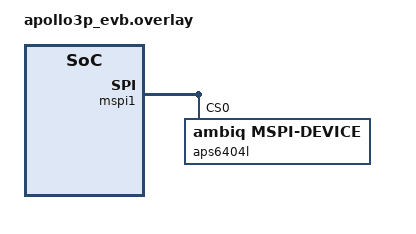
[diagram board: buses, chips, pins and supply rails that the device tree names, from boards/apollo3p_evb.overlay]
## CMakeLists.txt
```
# SPDX-License-Identifier: Apache-2.0

cmake_minimum_required(VERSION 3.20.0)

find_package(Zephyr REQUIRED HINTS $ENV{ZEPHYR_BASE})
project(memc)


if(CONFIG_MEMC_MCUX_FLEXSPI)
  target_include_directories(app PRIVATE ${ZEPHYR_BASE}/drivers/memc)
endif()

if(CONFIG_MEMC_MSPI_APS6404L)
  target_include_directories(app PRIVATE ${ZEPHYR_BASE}/include/zephyr/drivers)
  target_include_directories(app PRIVATE ${ZEPHYR_BASE}/drivers/mspi)
endif()

target_sources(app PRIVATE src/main.c)
```

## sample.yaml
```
sample:
  description: Memory controller sample
  name: memc driver sample
common:
  tags: memc
  filter: dt_alias_exists("sram-ext")
  integration_platforms:
    - mimxrt595_evk/mimxrt595s/cm33
  harness: console
  harness_config:
    type: one_line
    regex:
      - "Read data matches written data"
tests:
  sample.drivers.memc:
    tags: memc
```

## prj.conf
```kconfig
CONFIG_MEMC=y
```

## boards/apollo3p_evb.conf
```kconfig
# Copyright (c) 2024, Ambiq Micro Inc. <www.ambiq.com>
# SPDX-License-Identifier: Apache-2.0

CONFIG_MEMC_MSPI_APS6404L=y
CONFIG_LOG=y
CONFIG_LOG_DEFAULT_LEVEL=0
CONFIG_MSPI_INIT_PRIORITY=40
CONFIG_MEMC_INIT_PRIORITY=50
CONFIG_PM_DEVICE=y
```

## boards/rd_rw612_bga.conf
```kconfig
# Copyright 2023 NXP
# SPDX-License-Identifier: Apache-2.0

# In order to safely access the PSRAM on port B of the RW FlexSPI peripheral,
# the QSPI flash on port A must be configured by the application. Otherwise,
# the PSRAM configuration will overwrite the LUT entries for the QSPI flash,
# and the application will no longer be able to XIP from the flash.
# To make sure the QSPI flash is configured, enable flash drivers.
CONFIG_FLASH=y

# Initialization priorities are critical here. The FlexSPI MEMC driver must
# initialize first. Then, the QSPI flash driver must initialize to program
# the LUT table for port A. Finally, the PSRAM driver can initialize and
# program the LUT table for port B
CONFIG_MEMC_MCUX_FLEXSPI_INIT_PRIORITY=0
CONFIG_FLASH_INIT_PRIORITY=50
CONFIG_MEMC_INIT_PRIORITY=60

# This board has the PSRAM attached to the same FLEXSPI device as the flash
# chip used for XIP, so we must explicitly enable the FLEXSPI MEMC driver
# to reconfigure the flash device it is executing from
CONFIG_MEMC_MCUX_FLEXSPI_INIT_XIP=y
```

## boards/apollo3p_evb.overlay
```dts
/*
 * Copyright (c) 2024, Ambiq Micro Inc. <www.ambiq.com>
 *
 * SPDX-License-Identifier: Apache-2.0
 */

/ {
	aliases {
		psram0 = &aps6404l;
	};
};

&gpio64_95 {
	status = "okay";
};

&gpio32_63 {
	status = "okay";
};

&mspi1 {

	pinctrl-0 = <&mspi1_default>;
	pinctrl-1 = <&mspi1_sleep>;
	pinctrl-2 = <&mspi1_psram>;
	pinctrl-names = "default","sleep","psram";
	status = "okay";

	ce-gpios = <&gpio64_95 5 GPIO_ACTIVE_LOW>,
		   <&gpio32_63 18 GPIO_ACTIVE_LOW>;

	cmdq-buffer-location = ".mspi_buff";
	cmdq-buffer-size = <256>;

	aps6404l: aps6404l@0 {
		compatible = "ambiq,mspi-device", "mspi-aps6404l";
		size = <DT_SIZE_M(64)>;
		reg = <0>;
		status = "okay";
		mspi-max-frequency = <48000000>;
		mspi-io-mode = "MSPI_IO_MODE_QUAD";
		mspi-data-rate = "MSPI_DATA_RATE_SINGLE";
		mspi-hardware-ce-num = <0>;
		read-command = <0xEB>;
		write-command = <0x38>;
		command-length = "INSTR_1_BYTE";
		address-length = "ADDR_3_BYTE";
		rx-dummy = <6>;
		tx-dummy = <0>;
		xip-config = <1 0 0 0>;
		ce-break-config = <1024 3>;
		ambiq,timing-config-mask = <3>;
		ambiq,timing-config = <0 6 0 0 0 0 0 0>;
	};

};

&pinctrl {

	mspi1_sleep: mspi1_sleep{

		group1 {
			pinmux = <GPIO_P51>,
				 <GPIO_P52>,
				 <GPIO_P53>,
				 <GPIO_P54>,
				 <GPIO_P55>,
				 <GPIO_P56>,
				 <GPIO_P57>,
				 <GPIO_P58>,
				 <GPIO_P59>,
				 <GPIO_P69>,
				 <GPIO_P50>;
		};

	};

	mspi1_psram: mspi1_psram{

		group1 {
			pinmux = <MSPI1_0_P51>,
				 <MSPI1_1_P52>,
				 <MSPI1_2_P53>,
				 <MSPI1_3_P54>,
				 <MSPI1_4_P55>,
				 <MSPI1_5_P56>,
				 <MSPI1_6_P57>,
				 <MSPI1_7_P58>;
			drive-strength = "0.75";
			ambiq,iom-mspi = <0>;
			ambiq,iom-num = <1>;
		};

		group2 {
			pinmux = <MSPI1_8_P59>;
			drive-strength = "0.75";
			ambiq,iom-mspi = <0>;
			ambiq,iom-num = <2>;
		};

		group3 {
			pinmux = <NCE69_P69>;
			drive-strength = "1.0";
			ambiq,iom-mspi = <0>;
			ambiq,iom-num = <1>;
		};

		group4 {
			pinmux = <GPIO_P50>;
		};
	};
};
```

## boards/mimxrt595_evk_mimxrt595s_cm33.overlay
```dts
/*
 * Copyright 2022 NXP
 *
 * SPDX-License-Identifier: Apache-2.0
 */

/ {
	aliases {
		sram-ext = &aps6408l;
	};
};
```

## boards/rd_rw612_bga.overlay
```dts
/*
 * Copyright 2023 NXP
 *
 * SPDX-License-Identifier: Apache-2.0
 */

/ {
	aliases {
		sram-ext = &is66wvq8m4;
	};
};

&is66wvq8m4 {
	status = "okay";
};

&pinctrl {
	pinmux_flexspi_safe: pinmux-flexspi-safe {
		group0 {
			pinmux = <IO_MUX_QUAD_SPI_PSRAM_IO35
				IO_MUX_QUAD_SPI_PSRAM_IO36
				IO_MUX_QUAD_SPI_PSRAM_IO38
				IO_MUX_QUAD_SPI_PSRAM_IO39
				IO_MUX_QUAD_SPI_PSRAM_IO40
				IO_MUX_QUAD_SPI_PSRAM_IO41>;
			slew-rate = "normal";
		};

		group1 {
			pinmux = <IO_MUX_QUAD_SPI_PSRAM_IO37>;
			slew-rate = "normal";
			bias-pull-down;
		};
	};
};

/* Override pin control state to use one that only changes the PSRAM pin
 * configuration
 */
&flexspi {
	pinctrl-0 = <&pinmux_flexspi_safe>;
};
```

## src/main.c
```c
/*
 * Copyright 2022 NXP
 *
 * SPDX-License-Identifier: Apache-2.0
 */

#include <zephyr/kernel.h>
#include <string.h>
#include <zephyr/drivers/mspi.h>

#if DT_HAS_COMPAT_STATUS_OKAY(nxp_imx_flexspi)
/* Use memc API to get AHB base address for the device */
#include "memc_mcux_flexspi.h"
#define FLEXSPI_DEV DEVICE_DT_GET(DT_PARENT(DT_ALIAS(sram_ext)))
#define MEMC_PORT DT_REG_ADDR(DT_ALIAS(sram_ext))
#define MEMC_BASE ((void *)memc_flexspi_get_ahb_address(FLEXSPI_DEV, MEMC_PORT, 0))
#define MEMC_SIZE (DT_PROP(DT_ALIAS(sram_ext), size) / 8)
#elif DT_HAS_COMPAT_STATUS_OKAY(renesas_smartbond_nor_psram)
#include <da1469x_config.h>
#define MEMC_BASE ((void *)MCU_QSPIR_M_BASE)
#define MEMC_SIZE (DT_PROP(DT_ALIAS(sram_ext), dev_size) / 8)
#elif DT_HAS_COMPAT_STATUS_OKAY(ambiq_mspi_controller)
#define MSPI_ DT_BUS(DT_ALIAS(psram0))
#define mspi_get_xip_address(controller) DT_REG_ADDR_BY_IDX(controller, 1)
#define MEMC_BASE (void *)(mspi_get_xip_address(MSPI_))
#define MEMC_SIZE (DT_PROP(DT_ALIAS(psram0), size) / 8)
#else
#error At least one driver should be selected!
#endif

void dump_memory(uint8_t *p, uint32_t size)
{
	uint32_t i, j;

	for (i = 0, j = 0; j < (size / 16); i += 16, j++) {
		printk("%02x %02x %02x %02x %02x %02x %02x %02x ",
			p[i], p[i+1], p[i+2], p[i+3],
			p[i+4], p[i+5], p[i+6], p[i+7]);
		printk("%02x %02x %02x %02x %02x %02x %02x %02x\n",
			p[i+8], p[i+9], p[i+10], p[i+11],
			p[i+12], p[i+13], p[i+14], p[i+15]);
		/* Split dump at 256B boundaries */
		if (((i + 16) & 0xFF) == 0) {
			printk("\n");
		}
	}
	/* Dump any remaining data after 16 byte blocks */
	for (; i < size; i++) {
		printk("%02x ", p[i]);
	}
	printk("\n");
}

#define BUF_SIZE 1024

uint8_t memc_write_buffer[BUF_SIZE];
uint8_t memc_read_buffer[BUF_SIZE];

int main(void)
{
	uint8_t *memc = (uint8_t *)MEMC_BASE;
	uint32_t i, j;

	/* Initialize write buffer */
	for (i = 0; i < BUF_SIZE; i++) {
		memc_write_buffer[i] = (uint8_t)i;
	}
	printk("Writing to memory region with base %p, size 0x%0x\n\n",
		memc, MEMC_SIZE);
	/* Copy write buffer into memc region */
	for (i = 0, j = 0; j < (MEMC_SIZE / BUF_SIZE); i += BUF_SIZE, j++) {
		memcpy(memc + i, memc_write_buffer, BUF_SIZE);
	}
	/* Copy any remaining space bytewise */
	for (; i < MEMC_SIZE; i++) {
		memc[i] = memc_write_buffer[i];
	}
	/* Read from memc region into buffer */
	for (i = 0, j = 0; j < (MEMC_SIZE / BUF_SIZE); i += BUF_SIZE, j++) {
		memcpy(memc_read_buffer, memc + i, BUF_SIZE);
		/* Compare memory */
		if (memcmp(memc_read_buffer, memc_write_buffer, BUF_SIZE)) {
			printk("Error: read data differs in range [0x%x- 0x%x]\n",
				i, i + (BUF_SIZE - 1));
			dump_memory(memc_write_buffer, BUF_SIZE);
			dump_memory(memc_read_buffer, BUF_SIZE);
			return 0;
		}
		printk("Check (%i/%i) passed!\n", j, (MEMC_SIZE / BUF_SIZE) - 1);
	}
	/* Copy any remaining space bytewise */
	for (; i < MEMC_SIZE; i++) {
		memc_read_buffer[i] = memc[i];
		if (memc_write_buffer[i] != memc_read_buffer[i]) {
			printk("Error: read data differs at offset 0x%x\n", i);
			return 0;
		}
	}
	printk("First 1KB of Data in memory:\n");
	printk("===========================\n");
	dump_memory(memc, MIN(MEMC_SIZE, KB(1)));
	printk("Read data matches written data\n");
	return 0;
}
```
